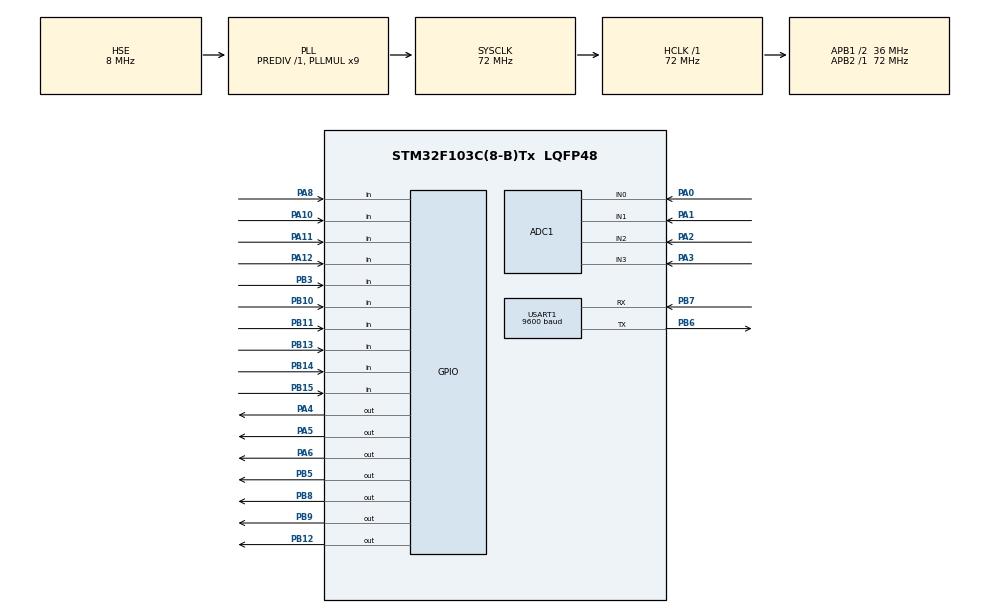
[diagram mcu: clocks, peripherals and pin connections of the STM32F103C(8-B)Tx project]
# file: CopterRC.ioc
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ADC1.Channel-0\#ChannelRegularConversion=ADC_CHANNEL_0
ADC1.Channel-1\#ChannelRegularConversion=ADC_CHANNEL_1
ADC1.Channel-2\#ChannelRegularConversion=ADC_CHANNEL_2
ADC1.Channel-3\#ChannelRegularConversion=ADC_CHANNEL_3
ADC1.ContinuousConvMode=ENABLE
ADC1.DataAlign=ADC_DATAALIGN_RIGHT
ADC1.DiscontinuousConvMode=DISABLE
ADC1.EnableAnalogWatchDog=false
ADC1.EnableRegularConversion=ENABLE
ADC1.ExternalTrigConv=ADC_SOFTWARE_START
ADC1.InjNumberOfConversion=0
ADC1.NbrOfConversion=4
ADC1.NbrOfConversionFlag=1
ADC1.Rank-0\#ChannelRegularConversion=1
ADC1.Rank-1\#ChannelRegularConversion=2
ADC1.Rank-2\#ChannelRegularConversion=3
ADC1.Rank-3\#ChannelRegularConversion=4
ADC1.SamplingTime-0\#ChannelRegularConversion=ADC_SAMPLETIME_55CYCLES_5
ADC1.SamplingTime-1\#ChannelRegularConversion=ADC_SAMPLETIME_55CYCLES_5
ADC1.SamplingTime-2\#ChannelRegularConversion=ADC_SAMPLETIME_55CYCLES_5
ADC1.SamplingTime-3\#ChannelRegularConversion=ADC_SAMPLETIME_55CYCLES_5
ADC1.ScanConvMode=ADC_SCAN_ENABLE
ADC1.master=1
Dma.ADC1.0.Direction=DMA_PERIPH_TO_MEMORY
Dma.ADC1.0.Instance=DMA1_Channel1
Dma.ADC1.0.MemDataAlignment=DMA_MDATAALIGN_WORD
Dma.ADC1.0.MemInc=DMA_MINC_ENABLE
Dma.ADC1.0.Mode=DMA_CIRCULAR
Dma.ADC1.0.PeriphDataAlignment=DMA_PDATAALIGN_WORD
Dma.ADC1.0.PeriphInc=DMA_PINC_DISABLE
Dma.ADC1.0.Priority=DMA_PRIORITY_MEDIUM
Dma.Request0=ADC1
FREERTOS.INCLUDE_uxTaskGetStackHighWaterMark=1
FREERTOS.INCLUDE_vTaskDelayUntil=1
FREERTOS.INCLUDE_xTaskGetCurrentTaskHandle=1
FREERTOS.Tasks01=defaultTask,0,128,StartDefaultTask,Default,NULL
FREERTOS.configUSE_IDLE_HOOK=1
Mcu.Family=STM32F1
Mcu.Name=STM32F103C(8-B)Tx
Mcu.Package=LQFP48
NVIC.DMA1_Channel1_IRQn=true\:5\:0\:false\:false\:true\:true\:false
NVIC.PriorityGroup=NVIC_PRIORITYGROUP_4
NVIC.TIM1_UP_IRQn=true\:0\:0\:false\:false\:true\:false\:false
NVIC.TimeBase=TIM1_UP_IRQn
NVIC.TimeBaseIP=TIM1
NVIC.USART1_IRQn=true\:5\:0\:false\:false\:true\:true\:true
PA0-WKUP.Signal=ADCx_IN0
PA1.Signal=ADCx_IN1
PA10.Signal=GPIO_Input
PA11.GPIO_PuPd=GPIO_PULLUP
PA11.Signal=GPIO_Input
PA12.GPIO_PuPd=GPIO_PULLUP
PA12.Signal=GPIO_Input
PA13.Mode=Serial_Wire
PA13.Signal=SYS_JTMS-SWDIO
PA14.Mode=Serial_Wire
PA14.Signal=SYS_JTCK-SWCLK
PA2.Signal=ADCx_IN2
PA3.Signal=ADCx_IN3
PA4.Signal=GPIO_Output
PA5.Signal=GPIO_Output
PA6.Signal=GPIO_Output
PA8.GPIO_PuPd=GPIO_PULLDOWN
PA8.Signal=GPIO_Input
PB10.GPIO_PuPd=GPIO_PULLUP
PB10.Signal=GPIO_Input
PB11.GPIO_PuPd=GPIO_PULLUP
PB11.Signal=GPIO_Input
PB12.Signal=GPIO_Output
PB13.GPIO_PuPd=GPIO_PULLUP
PB13.Signal=GPIO_Input
PB14.GPIO_PuPd=GPIO_PULLUP
PB14.Signal=GPIO_Input
PB15.GPIO_PuPd=GPIO_PULLUP
PB15.Signal=GPIO_Input
PB3.GPIO_PuPd=GPIO_PULLDOWN
PB3.Signal=GPIO_Input
PB5.Signal=GPIO_Output
PB6.Mode=Asynchronous
PB6.Signal=USART1_TX
PB7.Mode=Asynchronous
PB7.Signal=USART1_RX
PB8.GPIO_ModeDefaultOutputPP=GPIO_MODE_OUTPUT_OD
PB8.GPIO_Speed=GPIO_SPEED_FREQ_HIGH
PB8.PinState=GPIO_PIN_SET
PB8.Signal=GPIO_Output
PB9.GPIO_ModeDefaultOutputPP=GPIO_MODE_OUTPUT_OD
PB9.GPIO_Speed=GPIO_SPEED_FREQ_HIGH
PB9.PinState=GPIO_PIN_SET
PB9.Signal=GPIO_Output
PD0-OSC_IN.Mode=HSE-External-Oscillator
PD0-OSC_IN.Signal=RCC_OSC_IN
PD1-OSC_OUT.Mode=HSE-External-Oscillator
PD1-OSC_OUT.Signal=RCC_OSC_OUT
ProjectManager.HeapSize=0x200
ProjectManager.StackSize=0x400
ProjectManager.TargetToolchain=MDK-ARM V5
RCC.ADCPresc=RCC_ADCPCLK2_DIV6
RCC.AHBFreq_Value=72000000
RCC.APB1CLKDivider=RCC_HCLK_DIV2
RCC.APB1Freq_Value=36000000
RCC.APB1TimFreq_Value=72000000
RCC.APB2Freq_Value=72000000
RCC.APB2TimFreq_Value=72000000
RCC.HCLKFreq_Value=72000000
RCC.PLLMUL=RCC_PLL_MUL9
RCC.PLLSourceVirtual=RCC_PLLSOURCE_HSE
RCC.SYSCLKFreq_VALUE=72000000
RCC.SYSCLKSource=RCC_SYSCLKSOURCE_PLLCLK
RCC.USBFreq_Value=72000000
SH.ADCx_IN0.0=ADC1_IN0,IN0
SH.ADCx_IN1.0=ADC1_IN1,IN1
SH.ADCx_IN2.0=ADC1_IN2,IN2
SH.ADCx_IN3.0=ADC1_IN3,IN3
USART1.BaudRate=9600
USART1.VirtualMode=VM_ASYNC
VP_FREERTOS_VS_ENABLE.Mode=Enabled
VP_SYS_VS_tim1.Mode=TIM1
board=CopterRC

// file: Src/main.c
/**
  ******************************************************************************
  * @file           : main.c
  * @brief          : Main program body
  ******************************************************************************
  * This notice applies to any and all portions of this file
  * that are not between comment pairs USER CODE BEGIN and
  * USER CODE END. Other portions of this file, whether
  * inserted by the user or by software development tools
  * are owned by their respective copyright owners.
  *
  * Copyright (c) 2018 STMicroelectronics International N.V.
  * All rights reserved.
  *
  * Redistribution and use in source and binary forms, with or without
  * modification, are permitted, provided that the following conditions are met:
  *
  * 1. Redistribution of source code must retain the above copyright notice,
  *    this list of conditions and the following disclaimer.
  * 2. Redistributions in binary form must reproduce the above copyright notice,
  *    this list of conditions and the following disclaimer in the documentation
  *    and/or other materials provided with the distribution.
  * 3. Neither the name of STMicroelectronics nor the names of other
  *    contributors to this software may be used to endorse or promote products
  *    derived from this software without specific written permission.
  * 4. This software, including modifications and/or derivative works of this
  *    software, must execute solely and exclusively on microcontroller or
  *    microprocessor devices manufactured by or for STMicroelectronics.
  * 5. Redistribution and use of this software other than as permitted under
  *    this license is void and will automatically terminate your rights under
  *    this license.
  *
  * THIS SOFTWARE IS PROVIDED BY STMICROELECTRONICS AND CONTRIBUTORS "AS IS"
  * AND ANY EXPRESS, IMPLIED OR STATUTORY WARRANTIES, INCLUDING, BUT NOT
  * LIMITED TO, THE IMPLIED WARRANTIES OF MERCHANTABILITY, FITNESS FOR A
  * PARTICULAR PURPOSE AND NON-INFRINGEMENT OF THIRD PARTY INTELLECTUAL PROPERTY
  * RIGHTS ARE DISCLAIMED TO THE FULLEST EXTENT PERMITTED BY LAW. IN NO EVENT
  * SHALL STMICROELECTRONICS OR CONTRIBUTORS BE LIABLE FOR ANY DIRECT, INDIRECT,
  * INCIDENTAL, SPECIAL, EXEMPLARY, OR CONSEQUENTIAL DAMAGES (INCLUDING, BUT NOT
  * LIMITED TO, PROCUREMENT OF SUBSTITUTE GOODS OR SERVICES; LOSS OF USE, DATA,
  * OR PROFITS; OR BUSINESS INTERRUPTION) HOWEVER CAUSED AND ON ANY THEORY OF
  * LIABILITY, WHETHER IN CONTRACT, STRICT LIABILITY, OR TORT (INCLUDING
  * NEGLIGENCE OR OTHERWISE) ARISING IN ANY WAY OUT OF THE USE OF THIS SOFTWARE,
  * EVEN IF ADVISED OF THE POSSIBILITY OF SUCH DAMAGE.
  *
  ******************************************************************************
  */
#include "main.h"
#include "stm32f1xx_hal.h"
#include "cmsis_os.h"
#include "adc.h"
#include "dma.h"
#include "usart.h"
#include "gpio.h"

/* USER CODE BEGIN PV */
/* Private variables ---------------------------------------------------------*/

/* USER CODE END PV */

void SystemClock_Config(void);
void MX_FREERTOS_Init(void);

/* USER CODE BEGIN PFP */
/* Private function prototypes -----------------------------------------------*/

/* USER CODE END PFP */

int main(void)
{

  /* MCU Configuration----------------------------------------------------------*/

  /* Reset of all peripherals, Initializes the Flash interface and the Systick. */
  HAL_Init();

  /* Configure the system clock */
  SystemClock_Config();

  /* Initialize all configured peripherals */
  MX_GPIO_Init();
  MX_DMA_Init();
  MX_ADC1_Init();
  MX_USART1_UART_Init();

  /* Call init function for freertos objects (in freertos.c) */
  MX_FREERTOS_Init();

  /* Start scheduler */
  osKernelStart();

  /* We should never get here as control is now taken by the scheduler */

  /* Infinite loop */
  while (1)
  {

  }

}

void SystemClock_Config(void)
{

  RCC_OscInitTypeDef RCC_OscInitStruct;
  RCC_ClkInitTypeDef RCC_ClkInitStruct;
  RCC_PeriphCLKInitTypeDef PeriphClkInit;

    /**Initializes the CPU, AHB and APB busses clocks
    */
  RCC_OscInitStruct.OscillatorType = RCC_OSCILLATORTYPE_HSE;
  RCC_OscInitStruct.HSEState = RCC_HSE_ON;
  RCC_OscInitStruct.HSEPredivValue = RCC_HSE_PREDIV_DIV1;
  RCC_OscInitStruct.HSIState = RCC_HSI_ON;
  RCC_OscInitStruct.PLL.PLLState = RCC_PLL_ON;
  RCC_OscInitStruct.PLL.PLLSource = RCC_PLLSOURCE_HSE;
  RCC_OscInitStruct.PLL.PLLMUL = RCC_PLL_MUL9;
  if (HAL_RCC_OscConfig(&RCC_OscInitStruct) != HAL_OK)
  {
    _Error_Handler(__FILE__, __LINE__);
  }

    /**Initializes the CPU, AHB and APB busses clocks
    */
  RCC_ClkInitStruct.ClockType = RCC_CLOCKTYPE_HCLK|RCC_CLOCKTYPE_SYSCLK
                              |RCC_CLOCKTYPE_PCLK1|RCC_CLOCKTYPE_PCLK2;
  RCC_ClkInitStruct.SYSCLKSource = RCC_SYSCLKSOURCE_PLLCLK;
  RCC_ClkInitStruct.AHBCLKDivider = RCC_SYSCLK_DIV1;
  RCC_ClkInitStruct.APB1CLKDivider = RCC_HCLK_DIV2;
  RCC_ClkInitStruct.APB2CLKDivider = RCC_HCLK_DIV1;

  if (HAL_RCC_ClockConfig(&RCC_ClkInitStruct, FLASH_LATENCY_2) != HAL_OK)
  {
    _Error_Handler(__FILE__, __LINE__);
  }

  PeriphClkInit.PeriphClockSelection = RCC_PERIPHCLK_ADC;
  PeriphClkInit.AdcClockSelection = RCC_ADCPCLK2_DIV6;
  if (HAL_RCCEx_PeriphCLKConfig(&PeriphClkInit) != HAL_OK)
  {
    _Error_Handler(__FILE__, __LINE__);
  }

    /**Configure the Systick interrupt time
    */
  HAL_SYSTICK_Config(HAL_RCC_GetHCLKFreq()/1000);

    /**Configure the Systick
    */
  HAL_SYSTICK_CLKSourceConfig(SYSTICK_CLKSOURCE_HCLK);

  /* SysTick_IRQn interrupt configuration */
  HAL_NVIC_SetPriority(SysTick_IRQn, 15, 0);
}

void HAL_TIM_PeriodElapsedCallback(TIM_HandleTypeDef *htim)
{
  if (htim->Instance == TIM1) {
    HAL_IncTick();
  }
}

void _Error_Handler(char *file, int line)
{
  while(1)
  {
  }
}

/************************ (C) COPYRIGHT STMicroelectronics *****END OF FILE****/

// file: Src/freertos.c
/**
  ******************************************************************************
  * File Name          : freertos.c
  * Description        : Code for freertos applications
  ******************************************************************************
  * This notice applies to any and all portions of this file
  * that are not between comment pairs USER CODE BEGIN and
  * USER CODE END. Other portions of this file, whether
  * inserted by the user or by software development tools
  * are owned by their respective copyright owners.
  *
  * Copyright (c) 2018 STMicroelectronics International N.V.
  * All rights reserved.
  *
  * Redistribution and use in source and binary forms, with or without
  * modification, are permitted, provided that the following conditions are met:
  *
  * 1. Redistribution of source code must retain the above copyright notice,
  *    this list of conditions and the following disclaimer.
  * 2. Redistributions in binary form must reproduce the above copyright notice,
  *    this list of conditions and the following disclaimer in the documentation
  *    and/or other materials provided with the distribution.
  * 3. Neither the name of STMicroelectronics nor the names of other
  *    contributors to this software may be used to endorse or promote products
  *    derived from this software without specific written permission.
  * 4. This software, including modifications and/or derivative works of this
  *    software, must execute solely and exclusively on microcontroller or
  *    microprocessor devices manufactured by or for STMicroelectronics.
  * 5. Redistribution and use of this software other than as permitted under
  *    this license is void and will automatically terminate your rights under
  *    this license.
  *
  * THIS SOFTWARE IS PROVIDED BY STMICROELECTRONICS AND CONTRIBUTORS "AS IS"
  * AND ANY EXPRESS, IMPLIED OR STATUTORY WARRANTIES, INCLUDING, BUT NOT
  * LIMITED TO, THE IMPLIED WARRANTIES OF MERCHANTABILITY, FITNESS FOR A
  * PARTICULAR PURPOSE AND NON-INFRINGEMENT OF THIRD PARTY INTELLECTUAL PROPERTY
  * RIGHTS ARE DISCLAIMED TO THE FULLEST EXTENT PERMITTED BY LAW. IN NO EVENT
  * SHALL STMICROELECTRONICS OR CONTRIBUTORS BE LIABLE FOR ANY DIRECT, INDIRECT,
  * INCIDENTAL, SPECIAL, EXEMPLARY, OR CONSEQUENTIAL DAMAGES (INCLUDING, BUT NOT
  * LIMITED TO, PROCUREMENT OF SUBSTITUTE GOODS OR SERVICES; LOSS OF USE, DATA,
  * OR PROFITS; OR BUSINESS INTERRUPTION) HOWEVER CAUSED AND ON ANY THEORY OF
  * LIABILITY, WHETHER IN CONTRACT, STRICT LIABILITY, OR TORT (INCLUDING
  * NEGLIGENCE OR OTHERWISE) ARISING IN ANY WAY OUT OF THE USE OF THIS SOFTWARE,
  * EVEN IF ADVISED OF THE POSSIBILITY OF SUCH DAMAGE.
  *
  ******************************************************************************
  */

#include "FreeRTOS.h"
#include "task.h"
#include "cmsis_os.h"

/* USER CODE BEGIN Includes */
#include "Bluetooth.h"
#include "task_Control.h"
#include "externParam.h"
#include "Rocker.h"
#include "OLED.h"
/* USER CODE END Includes */

osThreadId defaultTaskHandle;

/* USER CODE BEGIN Variables */

osThreadId task_Control_Handle;
/* USER CODE END Variables */

void StartDefaultTask(void const * argument);

void MX_FREERTOS_Init(void); /* (MISRA C 2004 rule 8.1) */

/* Hook prototypes */
void vApplicationIdleHook(void);

/* USER CODE BEGIN 2 */
__weak void vApplicationIdleHook( void )
{
   /* vApplicationIdleHook() will only be called if configUSE_IDLE_HOOK is set
   to 1 in FreeRTOSConfig.h. It will be called on each iteration of the idle
   task. It is essential that code added to this hook function never attempts
   to block in any way (for example, call xQueueReceive() with a block time
   specified, or call vTaskDelay()). If the application makes use of the
   vTaskDelete() API function (as this demo application does) then it is also
   important that vApplicationIdleHook() is permitted to return to its calling
   function, because it is the responsibility of the idle task to clean up
   memory allocated by the kernel to any task that has since been deleted. */
}
/* USER CODE END 2 */

/* Init FreeRTOS */

void MX_FREERTOS_Init(void) {

  /* Create the thread(s) */
  /* definition and creation of defaultTask */
  osThreadDef(defaultTask, StartDefaultTask, osPriorityNormal, 0, 128);
  defaultTaskHandle = osThreadCreate(osThread(defaultTask), NULL);

}

/* StartDefaultTask function */
void StartDefaultTask(void const * argument)
{

  /* USER CODE BEGIN StartDefaultTask */

	uint8_t failFlag = 0;

	__HAL_UART_ENABLE(&huart1);

	Rocker_Init();
	OLED_InitConfig();

	InitFail:
	//初始化失败
	if(failFlag)
	{
		while(1)
		{

		}
	}

	osThreadDef(Control, task_Control, osPriorityNormal, 0, 128);
	task_Control_Handle = osThreadCreate(osThread(Control), NULL);

	vTaskDelete(NULL);
  /* USER CODE END StartDefaultTask */
}

/************************ (C) COPYRIGHT STMicroelectronics *****END OF FILE****/
